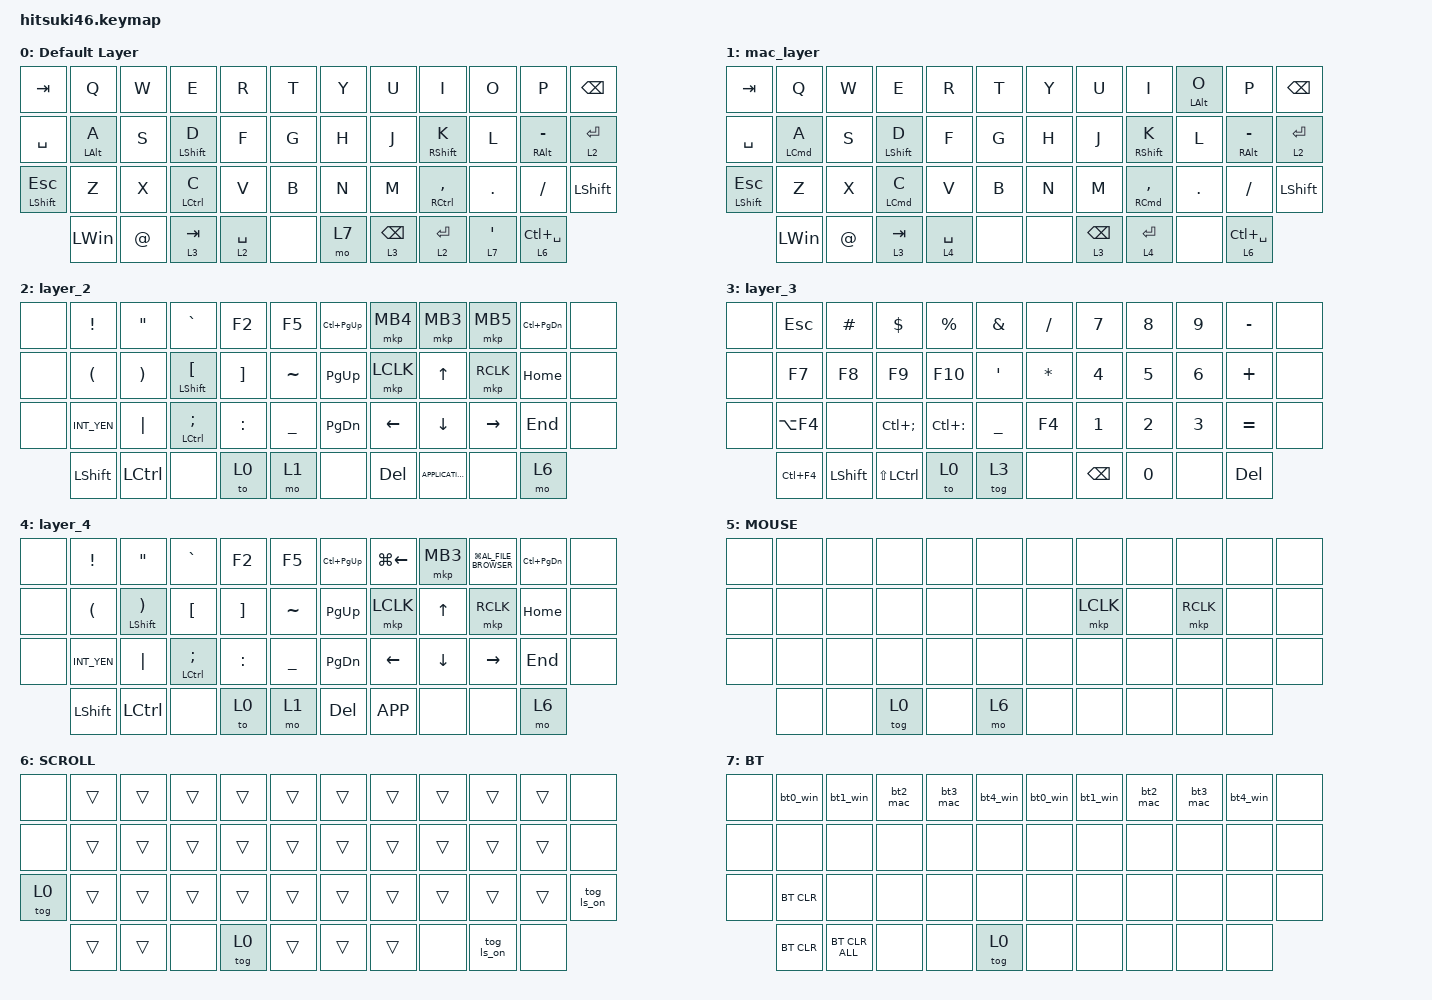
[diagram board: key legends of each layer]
#include <behaviors.dtsi>
#include <dt-bindings/zmk/bt.h>
#include <dt-bindings/zmk/keys.h>
#include <dt-bindings/zmk/pointing.h>
#include <input/processors/sensor_rotation.dtsi>
#include <layout_shift_kp_override.dtsi>

&mt {
    flavor = "balanced";
    quick-tap-ms = <0>;
};

// &trackball {
//     // Note: automouse-layer and scroll-layers are no longer supported in badjeff/zmk-pmw3610-driver
//     // These features should now be configured using layer-based zmk,input-listener in keymap
//     // automouse-layer = <1>;
//     // scroll-layers = <5>;
// };

/ {
    macros {
        emoji: emoji_macro {
            compatible = "zmk,behavior-macro";
            label = "EMOJI";
            #binding-cells = <0>;
            bindings =
                <&macro_press>,
                <&kp CAPSLOCK>,
                <&macro_tap>,
                <&kp E>,
                <&macro_release>,
                <&kp CAPSLOCK>;
        };

        to_layer_0: to_layer_0 {
            compatible = "zmk,behavior-macro-one-param";
            #binding-cells = <1>;
            bindings = <&to 0 &macro_param_1to1 &kp MACRO_PLACEHOLDER>;
            label = "TO_LAYER_0";
        };

        bt0_win: bt0_win {
            compatible = "zmk,behavior-macro";
            #binding-cells = <0>;
            bindings =
                <&tog_off 1>,
                <&macro_wait_time 100>,
                <&bt BT_SEL 0>,
                <&macro_wait_time 500>;

            label = "BT0_WN";
        };

        bt1_win: bt1_win {
            compatible = "zmk,behavior-macro";
            #binding-cells = <0>;
            bindings =
                <&tog_off 1>,
                <&macro_wait_time 200>,
                <&bt BT_SEL 1>,
                <&macro_wait_time 500>;

            label = "BT1_WIN";
        };

        bt2_mac: bt2_mac {
            compatible = "zmk,behavior-macro";
            #binding-cells = <0>;
            bindings =
                <&tog_off 1>,
                <&macro_wait_time 200>,
                <&bt BT_SEL 2>,
                <&macro_wait_time 500>,
                <&tog_on 1>;

            label = "BT1";
        };

        bt3_mac: bt3_mac {
            compatible = "zmk,behavior-macro";
            #binding-cells = <0>;
            bindings =
                <&tog_off 1>,
                <&macro_wait_time 200>,
                <&bt BT_SEL 3>,
                <&macro_wait_time 500>,
                <&tog_on 1>;

            label = "BT3_WIN";
        };

        bt4_win: bt4_win {
            compatible = "zmk,behavior-macro";
            #binding-cells = <0>;
            bindings =
                <&tog_off 1>,
                <&macro_wait_time 200>,
                <&bt BT_SEL 4>,
                <&macro_wait_time 500>;

            label = "BT4_WIN";
        };
    };

    behaviors {
        repeat_lt: repeat_layer_tap {
            compatible = "zmk,behavior-hold-tap";
            #binding-cells = <2>;
            bindings = <&mo>, <&kp>;
            flavor = "tap-preferred";
            tapping-term-ms = <200>;
            quick-tap-ms = <200>;
            display-name = "Repeat Layer-Tap";
        };

        encoder_msc: sensor_rotate_msc {
            compatible = "zmk,behavior-sensor-rotate-var";
            #sensor-binding-cells = <2>;
            bindings = <&msc>, <&msc>;

            tap-ms = <20>;
        };

        encoder_kp: sensor_rotate_kp {
            compatible = "zmk,behavior-sensor-rotate-var";
            #sensor-binding-cells = <2>;
            bindings = <&kp>, <&kp>;
        };

        lt_to_layer_0: lt_to_layer_0 {
            compatible = "zmk,behavior-hold-tap";
            label = "LAYER_TAP_TO_0";
            bindings = <&mo>, <&to_layer_0>;

            #binding-cells = <2>;
            tapping-term-ms = <200>;
        };

        // 新しいスクロール動作

        scroll_up_down: behavior_sensor_rotate_mouse_wheel_up_down {
            compatible = "zmk,behavior-sensor-rotate";
            #sensor-binding-cells = <0>;
            bindings = <&msc SCRL_UP>, <&msc SCRL_DOWN>;

            // 追加: スクロールのタップ時間を設定 (20ms)

            tap-ms = <20>;
        };

        tog_on: toggle_layer_on {
            compatible = "zmk,behavior-toggle-layer";
            #binding-cells = <1>;
            display-name = "Toggle Layer On";
            toggle-mode = "on";
        };

        tog_off: toggle_layer_off {
            compatible = "zmk,behavior-toggle-layer";
            #binding-cells = <1>;
            display-name = "Toggle Layer Off";
            toggle-mode = "off";
        };
    };

    combos {
        compatible = "zmk,combos";

        atmark {
            bindings = <&kp AT>;
            key-positions = <9 10>;
        };
    };

    keymap {
        compatible = "zmk,keymap";

        default_layer {
            display-name = "Default Layer";
            bindings = <
&kp TAB                &kp Q           &kp W   &kp E               &kp R        &kp T  &kp Y  &kp U                   &kp I                    &kp O               &kp P                &kp BACKSPACE
&kp SPACE              &mt LEFT_ALT A  &kp S   &mt LEFT_SHIFT D    &kp F        &kp G  &kp H  &kp J                   &mt RIGHT_SHIFT K        &kp L               &mt RIGHT_ALT MINUS  &repeat_lt 2 ENTER
&mt LEFT_SHIFT ESCAPE  &kp Z           &kp X   &mt LEFT_CONTROL C  &kp V        &kp B  &kp N  &kp M                   &mt RIGHT_CONTROL COMMA  &kp DOT             &kp SLASH            &kp LEFT_SHIFT
                       &kp LEFT_WIN    &kp AT  &lt 3 TAB           &lt 2 SPACE  &none  &mo 7  &repeat_lt 3 BACKSPACE  &repeat_lt 2 ENTER       &lt 7 SINGLE_QUOTE  &lt 6 LC(SPACE)
            >;
        };

        mac_layer {
            bindings = <
&kp TAB                &kp Q               &kp W   &kp E               &kp R        &kp T  &kp Y  &kp U                   &kp I                    &mt LEFT_ALT O      &kp P                &kp BACKSPACE
&kp SPACE              &mt LEFT_COMMAND A  &kp S   &mt LEFT_SHIFT D    &kp F        &kp G  &kp H  &kp J                   &mt RIGHT_SHIFT K        &kp L               &mt RIGHT_ALT MINUS  &repeat_lt 2 ENTER
&mt LEFT_SHIFT ESCAPE  &kp Z               &kp X   &mt LEFT_COMMAND C  &kp V        &kp B  &kp N  &kp M                  &mt RIGHT_COMMAND COMMA  &kp DOT             &kp SLASH            &kp LEFT_SHIFT
                       &kp LEFT_WIN        &kp AT  &lt 3 TAB           &lt 4 SPACE  &none  &none  &repeat_lt 3 BACKSPACE  &repeat_lt 4 ENTER       &none               &lt 6 LC(SPACE)
            >;
        };

        layer_2 {
            bindings = <
&none  &kp EXCL              &kp DQT                &kp GRAVE                    &kp F2             &kp F5          &kp LC(PAGE_UP)  &mkp MB4    &mkp MB3           &mkp MB5   &kp LC(PAGE_DOWN)  &none
&none  &kp LEFT_PARENTHESIS  &kp RIGHT_PARENTHESIS  &mt LEFT_SHIFT LEFT_BRACKET  &kp RIGHT_BRACKET  &kp TILDE       &kp PAGE_UP      &mkp LCLK   &kp UP_ARROW       &mkp RCLK  &kp HOME           &none
&none  &kp INT_YEN           &kp PIPE               &mt LEFT_CONTROL SEMICOLON   &kp COLON          &kp UNDERSCORE  &kp PAGE_DOWN    &kp LEFT    &kp DOWN_ARROW     &kp RIGHT  &kp END            &none
       &kp LEFT_SHIFT        &kp LEFT_CONTROL       &none                        &to 0              &mo 1           &none            &kp DELETE  &kp K_APPLICATION  &none      &mo 6
            >;
        };

        layer_3 {
            bindings = <
&none  &kp ESCAPE  &kp HASH        &kp DOLLAR            &kp PERCENT    &kp AMPERSAND     &kp SLASH     &kp N7         &kp N8        &kp N9        &kp MINUS   &none
&none  &kp F7      &kp F8          &kp F9                &kp F10        &kp SINGLE_QUOTE  &kp ASTERISK  &kp NUMBER_4   &kp N5        &kp NUMBER_6  &kp PLUS    &none
&none  &kp LA(F4)  &none           &kp LC(SEMICOLON)     &kp LC(COLON)  &kp UNDERSCORE    &kp F4        &kp NUMBER_1   &kp NUMBER_2  &kp NUMBER_3  &kp EQUAL   &none
       &kp LC(F4)  &kp LEFT_SHIFT  &kp LS(LEFT_CONTROL)  &to 0          &tog 3            &none         &kp BACKSPACE  &kp NUMBER_0  &none         &kp DELETE
            >;
        };

        layer_4 {
            bindings = <
&none  &kp EXCL              &kp DQT                           &kp GRAVE                   &kp F2             &kp F5          &kp LC(PAGE_UP)  &kp LG(LEFT_ARROW)  &mkp MB3        &kp LG(C_AL_FILE_BROWSER)  &kp LC(PAGE_DOWN)  &none
&none  &kp LEFT_PARENTHESIS  &mt LEFT_SHIFT RIGHT_PARENTHESIS  &kp LEFT_BRACKET            &kp RIGHT_BRACKET  &kp TILDE       &kp PAGE_UP      &mkp LCLK           &kp UP_ARROW    &mkp RCLK                  &kp HOME           &none
&none  &kp INT_YEN           &kp PIPE                          &mt LEFT_CONTROL SEMICOLON  &kp COLON          &kp UNDERSCORE  &kp PAGE_DOWN    &kp LEFT            &kp DOWN_ARROW  &kp RIGHT                  &kp END            &none
       &kp LEFT_SHIFT        &kp LEFT_CONTROL                  &none                       &to 0              &mo 1           &kp DELETE       &kp K_APP           &none           &none                      &mo 6
            >;
        };

        MOUSE {
            bindings = <
&none  &none  &none  &none   &none  &none  &none  &none      &none  &none      &none  &none
&none  &none  &none  &none   &none  &none  &none  &mkp LCLK  &none  &mkp RCLK  &none  &none
&none  &none  &none  &none   &none  &none  &none  &none      &none  &none      &none  &none
       &none  &none  &tog 0  &none  &mo 6  &none  &none      &none  &none      &none
            >;
        };

        SCROLL {
            bindings = <
&none   &trans  &trans  &trans  &trans  &trans  &trans  &trans  &trans  &trans      &trans  &none
&none   &trans  &trans  &trans  &trans  &trans  &trans  &trans  &trans  &trans      &trans  &none
&tog 0  &trans  &trans  &trans  &trans  &trans  &trans  &trans  &trans  &trans      &trans  &tog_ls_on
        &trans  &trans  &none   &tog 0  &trans  &trans  &trans  &none   &tog_ls_on  &none
            >;
        };

        BT {
            bindings = <
&none  &bt0_win    &bt1_win        &bt2_mac  &bt3_mac  &bt4_win  &bt0_win  &bt1_win  &bt2_mac  &bt3_mac  &bt4_win  &none
&none  &none       &none           &none     &none     &none     &none     &none     &none     &none     &none     &none
&none  &bt BT_CLR  &none           &none     &none     &none     &none     &none     &none     &none     &none     &none
       &bt BT_CLR  &bt BT_CLR_ALL  &none     &none     &tog 0    &none     &none     &none     &none     &none
            >;
        };
    };
};
